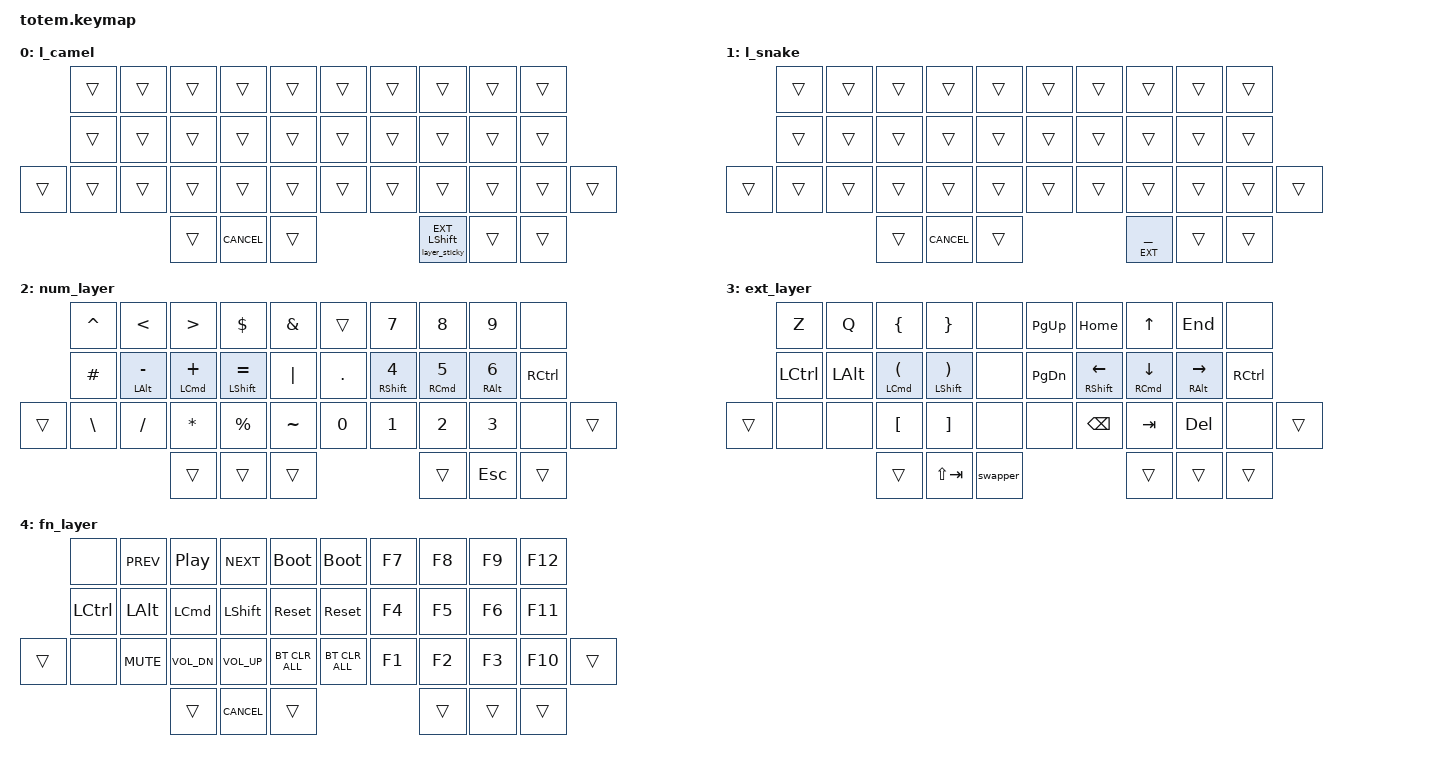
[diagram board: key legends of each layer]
//
//                                                        ▀▀▀▀▀     ▀▀▀▀▀          ▀▀█▀▀
//                                                        ▄▀▀▀▄  ▄  ▄▀▀▀▄  ▄  ▄▀▀▀▄  █  ▄▀▀▀▄
//                                                        █   █  █  █   █  █  █   █  █  █   █
//                                                         ▀▀▀   █   ▀▀▀   █   ▀▀▀   ▀   ▀▀▀
//                                                               █      ▄▄▄█▄▄▄    █   █  
//                                                               ▀      █  █  █     █▄█
//                                                             ▀▀▀▀▀    █  █  █      ▀
//                                                                      ▀  ▀  ▀
//
// ▄▄▄▄▄▄▄▄▄▄▄▄▄▄▄▄▄▄▄▄▄▄▄▄▄▄▄▄▄▄▄▄▄▄▄▄▄▄▄▄▄▄▄▄▄▄▄▄▄▄▄▄▄▄▄▄▄▄▄▄▄▄▄▄▄▄▄▄▄▄▄▄▄▄▄▄▄▄▄▄▄▄▄▄▄▄▄▄▄▄▄▄▄▄▄▄▄▄▄▄▄▄▄▄▄▄▄▄▄▄▄▄▄▄▄▄▄▄▄▄▄▄▄▄▄▄▄▄▄▄▄▄▄▄▄▄▄▄▄▄▄▄▄▄▄▄▄▄▄
       

#include <behaviors.dtsi>
#include <dt-bindings/zmk/keys.h>
#include <dt-bindings/zmk/bt.h>
#include <dt-bindings/zmk/outputs.h> 

// needs to come after behaviors.dtsi, as it redefines ZMK_MACRO
#include "zmk-helpers/helper.h"
#include "zmk-helpers/key-labels/totem.h"

#define KEYS_L LT0 LT1 LT2 LT3 LT4 LM0 LM1 LM2 LM3 LM4 LB0 LB1 LB2 LB3 LB4 LB5
#define KEYS_R RT0 RT1 RT2 RT3 RT4 RM0 RM1 RM2 RM3 RM4 RB0 RB1 RB2 RB3 RB4 RB5
#define KEYS_T LH2 LH1 LH0 RH0 RH1 RH2

#define XXX &none
#define ___ &trans

/* Global settings */

#define HM_TAPPING_TERM 280
#define HM_TAPPING_TERM_FAST 200
#define LAYER_TAPPING_TERM 200
#define AK_TAPPING_TERM 200
#define LK_TAPPING_TERM 200
#define QUICK_TAP_MS 175
#define HRM_PRIOR_IDLE 155

&sk {  // sticky-key config
    release-after-ms = <600>;  // release after 0.6s
    quick-release;             // no double capitalization when rolling keys
};

&sl {  // sticky-layer config
    ignore-modifiers;          // allow chording sticky mods & layers
};

&lt {  // layer-tap config
    flavor = "balanced";
    tapping-term-ms = <LAYER_TAPPING_TERM>;
    quick-tap-ms = <QUICK_TAP_MS>;
};

#define ZMK_MACRO_FAST(NAME, ...) \
    ZMK_BEHAVIOR(NAME, macro, \
        wait-ms = <0>; \
        tap-ms = <0>; \
        bindings = __VA_ARGS__ ; \
    )

ZMK_STICKY_KEY(long_sticky,
    bindings = <&kp>;
    release-after-ms = <5000>;
    quick-release;)

ZMK_HOLD_TAP(layer_sticky,
    flavor = "balanced";
    tapping-term-ms = <LAYER_TAPPING_TERM>;
    quick-tap-ms = <QUICK_TAP_MS>;
    bindings = <&mo>, <&long_sticky>;)
    
/* Layers */

#define ALPHA 0
#define l_camel 1
#define l_snake 2
#define NUM 3
#define EXT 4
#define FN 5
#define ALPHA_ALL ALPHA l_camel l_snake

/* Homerow mods */
// consider adding hold-while-undecided                                          
#define MAKE_HRM(NAME, HOLD, TAP, TRIGGER_POS)                                    \
  ZMK_HOLD_TAP(NAME, bindings = <HOLD>, <TAP>; flavor = "balanced";               \
               tapping-term-ms = <HM_TAPPING_TERM>;                               \
               quick-tap-ms = <QUICK_TAP_MS>;                                     \
               require-prior-idle-ms = <HRM_PRIOR_IDLE>; hold-trigger-on-release; \
               hold-trigger-key-positions = <TRIGGER_POS>;)

MAKE_HRM(hml, &kp, &kp, KEYS_R KEYS_T)
MAKE_HRM(hmr, &kp, &kp, KEYS_L KEYS_T)

MAKE_HRM(hrm_h, &kp, &ak_h, KEYS_L KEYS_T)
MAKE_HRM(hrm_c, &kp, &ak_c, KEYS_R KEYS_T)

ZMK_HOLD_TAP(lt_oss,
    flavor = "balanced";
    tapping-term-ms = <LAYER_TAPPING_TERM>;
    quick-tap-ms = <QUICK_TAP_MS>;
    bindings = <&mo>, <&smart_case>;
)

// Hack: Make HRM combos tap-only (cf, ZMK issue #544).
#define HRM_COMBO(NAME, TAP, POS, LAYERS, COMBO_MS, HOLD, SIDE)     \
  MAKE_HRM(hm_combo_##NAME, &kp, TAP, SIDE KEYS_T)                             \
  ZMK_COMBO(NAME, &hm_combo_##NAME HOLD 0, POS, LAYERS, COMBO_MS)

/* Smart case */

ZMK_MOD_MORPH(smart_case, bindings = <&sk LSHFT>, <&caps_word>;
              mods = <(MOD_LSFT)>;)
&caps_word { // Mods deactivate caps-word
  /delete-property/ ignore-modifiers;
};

/* Alt+Tab swapper */

ZMK_TRI_STATE(swapper, bindings = <&kt LCMD>, <&kp TAB>, <&kt LCMD>;
              ignored-key-positions = <LH1 RT2 RM1 RM2 RM3>;)

/* Combos */

#undef COMBO_TERM
#define COMBO_TERM 40
#define COMBO_TERM_FAST 30
#define COMBO_TERM_SLOW 40
#define COMBO_TERM_VERT 70
#define COMBO_IDLE_FAST 150
#define COMBO_IDLE_SLOW 50

// h-digraph combos

ZMK_COMBO(combo_wh,  &Wh,  LT3 LT2,     ALPHA_ALL, COMBO_TERM_FAST)
ZMK_COMBO(combo_gh,  &Gh,  LT2 LT1,     ALPHA_ALL, COMBO_TERM_FAST)
ZMK_COMBO(combo_ght, &ght, LT3 LT2 LT1, ALPHA_ALL, COMBO_TERM_SLOW)
HRM_COMBO(combo_sh,  &Sh,  LM4 LM3,     ALPHA_ALL, COMBO_TERM_FAST, LC(LALT), KEYS_R)
HRM_COMBO(combo_sch, &Sch, LM4 LM3 LM2, ALPHA_ALL, COMBO_TERM_SLOW, LC(LA(LCMD)), KEYS_R)
HRM_COMBO(combo_ch,  &Ch,  LM3 LM2,     ALPHA_ALL, COMBO_TERM_FAST, LA(LCMD), KEYS_R)
HRM_COMBO(combo_th,  &Th,  LM2 LM1,     ALPHA_ALL, COMBO_TERM_FAST, LG(LSHFT), KEYS_R)
HRM_COMBO(combo_tch, &Tch, LM3 LM2 LM1, ALPHA_ALL, COMBO_TERM_SLOW, LA(LG(LSHFT)), KEYS_R)
ZMK_COMBO(combo_ph,  &Ph,  LB3 LB2,     ALPHA_ALL, COMBO_TERM_FAST)

// editing combos

ZMK_COMBO(undo, &kp LG(Z),     LB4 LB3,     ALL, COMBO_TERM_FAST)
ZMK_COMBO(redo, &kp LG(LS(Z)), LB4 LB3 LB2, ALL, COMBO_TERM_SLOW)
ZMK_COMBO(cut,  &kp LG(X),     LB3 LB2 LB1, ALL, COMBO_TERM_SLOW)
ZMK_COMBO(copy, &kp LG(C),     LB3 LB1,     ALL, COMBO_TERM_SLOW)
ZMK_COMBO(pste, &kp LG(V),     LB2 LB1,     ALL, COMBO_TERM_FAST)

MAKE_HRM(hm_combo_esc, &kp, &kp, KEYS_L KEYS_T)
ZMK_COMBO(combo_esc,      &hm_combo_esc RG(RSHFT) ESC, RM1 RM2, ALL, COMBO_TERM_FAST)
ZMK_COMBO(combo_esc_vert, &kp ESC,                     RT1 RM1, ALL, COMBO_TERM_VERT)
ZMK_COMBO(combo_ret,      &kp RET,                     RB1 RB2, ALL, COMBO_TERM_FAST)

// glyph combos

ZMK_COMBO(combo_qu,      &kp Q, LT3 LT1, ALPHA_ALL, 80)
ZMK_COMBO(combo_z,       &kp Z, LT4 LT3, ALPHA_ALL, COMBO_TERM_SLOW)
ZMK_COMBO(combo_qu_vert, &kp Q, LT3 LM3, ALPHA_ALL, COMBO_TERM_VERT)
ZMK_COMBO(combo_z_vert,  &kp Z, LT4 LM4, ALPHA_ALL, COMBO_TERM_VERT)

ZMK_COMBO(combo_colon, &kp COLON,         RT1 RT3, ALPHA_ALL, COMBO_TERM_SLOW)
ZMK_COMBO(combo_excl,  &kp EXCL,          RT1 RT2, ALPHA_ALL, COMBO_TERM_FAST)
ZMK_COMBO(combo_qmark, &kp QMARK,         RT2 RT3, ALPHA_ALL, COMBO_TERM_FAST)
ZMK_COMBO(combo_grave, &kp GRAVE,         RT3 RT4, ALPHA_ALL, COMBO_TERM_SLOW)
ZMK_COMBO(combo_at,    &kp AT,            RT0 RT1, ALPHA_ALL, COMBO_TERM_FAST)
ZMK_COMBO(combo_semi,  &kp SEMI,          RM0 RM1, ALPHA_ALL, COMBO_TERM_FAST)
ZMK_COMBO(combo_under, &kp UNDER,         RB1 RB3, ALPHA_ALL, COMBO_TERM_SLOW)
ZMK_COMBO(combo_equal, &kp EQUAL,         RB2 RB3, ALPHA_ALL, COMBO_TERM_FAST)
ZMK_COMBO(combo_ndash, &kp LA(MINUS),     RB0 RB1, ALPHA_ALL, COMBO_TERM_FAST) // N-dash
ZMK_COMBO(combo_mdash, &kp LA(LS(MINUS)), RB0 RB2, ALPHA_ALL, COMBO_TERM_SLOW) // M-dash

// macros for h-digraphs

ZMK_MACRO_FAST(Wh,
    <&macro_tap &kp W>
    , <&macro_release &kp LSHFT &kp RSHFT>
    , <&macro_tap &kp H>
)
ZMK_MACRO_FAST(Gh,
    <&macro_tap &kp G>
    , <&macro_release &kp LSHFT &kp RSHFT>
    , <&macro_tap &kp H>
)
ZMK_MACRO_FAST(ght, <&kp G &kp H &kp T>)
ZMK_MACRO_FAST(Sh,
    <&macro_tap &kp S>
    , <&macro_release &kp LSHFT &kp RSHFT>
    , <&macro_tap &kp H>
)
ZMK_MACRO_FAST(Sch,
    <&macro_tap &kp S>
    , <&macro_release &kp LSHFT &kp RSHFT>
    , <&macro_tap &kp C &kp H>
)
ZMK_MACRO_FAST(Ch,
    <&macro_tap &kp C>
    , <&macro_release &kp LSHFT &kp RSHFT>
    , <&macro_tap &kp H>
)
ZMK_MACRO_FAST(Th,
    <&macro_tap &kp T>
    , <&macro_release &kp LSHFT &kp RSHFT>
    , <&macro_tap &kp H>
)
ZMK_MACRO_FAST(Tch,
    <&macro_tap &kp T>
    , <&macro_release &kp LSHFT &kp RSHFT>
    , <&macro_tap &kp C &kp H>
)
ZMK_MACRO_FAST(Ph,
    <&macro_tap &kp P>
    , <&macro_release &kp LSHFT &kp RSHFT>
    , <&macro_tap &kp H>
)

/* Adaptives */

#define AK2(NAME, TRIGGER, BINDINGS) \
    akt_##NAME { trigger-keys = <TRIGGER>; max-prior-idle-ms = <AK_TAPPING_TERM>; bindings = BINDINGS; }

#define AK(TRIGGER, BINDING) AK2(TRIGGER##BINDING, TRIGGER, <&kp BINDING>)

ZMK_ADAPTIVE_KEY(ak_h, bindings = <&kp H>; AK(A, U); AK(U, A); AK(E, O); AK(O, E);)
// gm->gl, wm->lm
ZMK_ADAPTIVE_KEY(ak_m, bindings = <&kp M>; AK(G, L); AK2(wm, W, <&kp BSPC &kp L &kp M>);)
// bc->bs
ZMK_ADAPTIVE_KEY(ak_c, bindings = <&kp C>; AK(B, S);)
// mg->lg
ZMK_ADAPTIVE_KEY(ak_g, bindings = <&kp G>; AK2(mg, M, <&kp BSPC &kp L &kp G>);)
// mx->mb
ZMK_ADAPTIVE_KEY(ak_x, bindings = <&kp X>; AK(M, B);)
// cb->sb
ZMK_ADAPTIVE_KEY(ak_b, bindings = <&kp B>; AK2(cb, C, <&kp BSPC &kp S &kp B>);)
// mw->mp
ZMK_ADAPTIVE_KEY(ak_w, bindings = <&kp W>; AK(M, P);)

/* Mod morphs */

ZMK_MOD_MORPH(CmmaSemi,
    mods = <(MOD_LSFT|MOD_RSFT)>;
    bindings = <&kp COMMA>, <&typeSemi>;
)
ZMK_MACRO(typeSemi,
    bindings = <&macro_release &kp LSHFT>
            , <&macro_tap &kp SEMICOLON>;
)
ZMK_MOD_MORPH(DotColn,
    mods = <(MOD_LSFT|MOD_RSFT)>;
    bindings = <&kp DOT>, <&kp COLON>;
)
ZMK_MOD_MORPH(SlshStar,
    mods = <(MOD_LSFT|MOD_RSFT)>;
    bindings = <&kp FSLH>, <&kp STAR>;
)
ZMK_MOD_MORPH(MinusPlus,
    mods = <(MOD_LSFT|MOD_RSFT)>;
    bindings = <&kp MINUS>, <&kp PLUS>;
)
ZMK_MOD_MORPH(DqtLbkt,
    mods = <(MOD_LSFT|MOD_RSFT)>;
    bindings = <&kp DQT>, <&kp LBKT>;
)
ZMK_MOD_MORPH(SqtRbkt,
    mods = <(MOD_LSFT|MOD_RSFT)>;
    bindings = <&kp SQT>, <&kp RBKT>;
)

ZMK_MOD_MORPH(qexl,
    mods = <(MOD_LSFT|MOD_RSFT)>;
    bindings = <&kp QMARK>, <&kp EXCL>;
)

ZMK_MOD_MORPH(dunder,
    mods = <(MOD_LSFT|MOD_RSFT)>;
    bindings = <&kp MINUS>, <&kp UNDER>;
)

ZMK_MACRO(esc_cancel,
    bindings = <&kp ESC &kp K_CANCEL>;
)

// keymap

ZMK_LAYER(default_layer,
     &ak_x         &kp W        &ak_m        &ak_g          &kp J        &kp BSPC       &DotColn      &SlshStar    &DqtLbkt     &SqtRbkt
     &hml LCTRL S &hrm_c LALT C &hml LCMD N  &hml LSHFT T   &kp K        &CmmaSemi      &hmr RSHFT A  &hmr RCMD E  &hmr RALT I  &hrm_h RCTRL H
XXX  &ak_b         &kp P        &kp L        &kp D          &kp V        &MinusPlus     &kp U         &kp O        &kp Y        &kp F         XXX
                        &kp RS(RC(RG(RALT))) &smart_case    &lt NUM R    &lt EXT SPACE  &lt_oss FN 0  &kp RS(RC(RG(RALT)))
)

ZMK_LAYER(l_camel,
        ___     ___     ___     ___     ___    ___     ___     ___     ___     ___
        ___     ___     ___     ___     ___    ___     ___     ___     ___     ___
___     ___     ___     ___     ___     ___    ___     ___     ___     ___     ___     ___
                       ___ &kp K_CANCEL ___ &layer_sticky EXT LSHFT ___ ___
)

ZMK_LAYER(l_snake,
        ___     ___     ___     ___     ___    ___     ___     ___     ___     ___
        ___     ___     ___     ___     ___    ___     ___     ___     ___     ___
___     ___     ___     ___     ___     ___    ___     ___     ___     ___     ___     ___
                       ___ &kp K_CANCEL ___  &lt EXT UNDER ___ ___
)

ZMK_LAYER(num_layer,
     &kp CARET  &kp LT           &kp GT          &kp DOLLAR        &kp AMPS     ___       &kp N7            &kp N8          &kp N9           XXX
     &kp HASH   &hml LALT MINUS  &hml LCMD PLUS  &hml LSHFT EQUAL  &kp PIPE     &kp DOT   &hmr RSHFT N4     &hmr RCMD N5    &hmr RALT N6     &kp RCTRL
___  &kp BSLH   &kp FSLH         &kp STAR        &kp PRCNT         &kp TILDE    &kp N0    &kp N1            &kp N2          &kp N3           XXX        ___
                                 ___             ___               ___          ___       &kp ESC           ___
)

ZMK_LAYER(ext_layer,
     &kp Z      &kp Q           &kp LBRC        &kp RBRC          XXX          &kp PG_UP  &kp HOME         &kp UP          &kp END          XXX 
     &kp LCTRL  &kp LALT        &hml LCMD LPAR  &hml LSHFT RPAR   XXX          &kp PG_DN  &hmr RSHFT LEFT  &hmr RCMD DOWN  &hmr RALT RIGHT  &kp RCTRL
___  XXX        XXX             &kp LBKT        &kp RBKT          XXX          &none      &kp BSPC         &kp TAB         &kp DEL          XXX        ___
                                ___             &kp LS(TAB)       &swapper     ___        ___              ___
)

ZMK_LAYER(fn_layer,
     XXX        &kp C_PREV  &kp C_PP      &kp C_NEXT    &bootloader    &bootloader    &kp F7  &kp F8  &kp F9  &kp F12
     &kp LCTRL  &kp LALT    &kp LCMD      &kp LSHFT     &sys_reset     &sys_reset     &kp F4  &kp F5  &kp F6  &kp F11
___  XXX        &kp C_MUTE  &kp C_VOL_DN  &kp C_VOL_UP  &bt BT_CLR_ALL &bt BT_CLR_ALL &kp F1  &kp F2  &kp F3  &kp F10  ___
                            ___           &kp K_CANCEL  ___            ___            ___     ___
)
